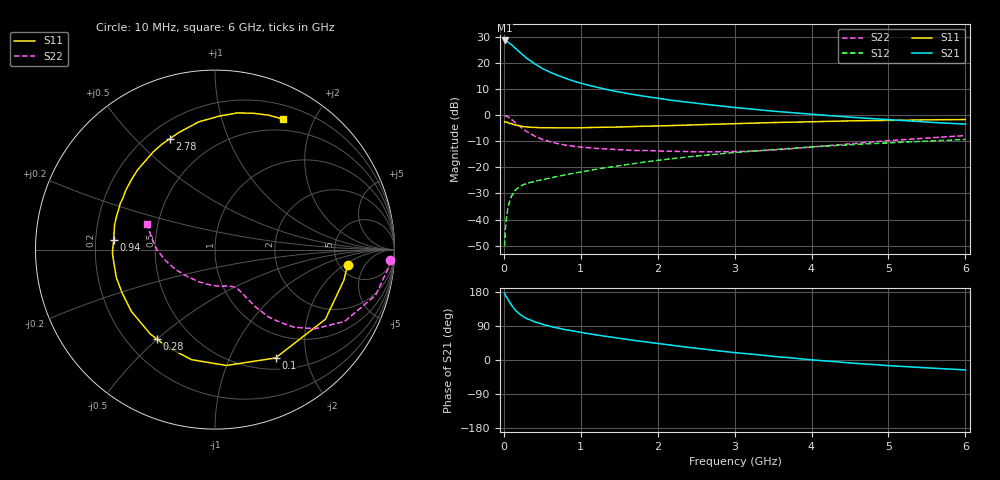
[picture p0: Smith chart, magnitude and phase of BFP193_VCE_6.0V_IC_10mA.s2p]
! Infineon Technologies  Discrete & RF Semiconductors
! BFP193
! VCE = 6.0 V,  IC =  10 mA
! Common Emitter S-Parameters:  Jan 2016
# GHz  S  MA  R  50
!  f  S11  S21  S12  S22
! GHz  MAG  ANG  MAG  ANG  MAG  ANG  MAG  ANG
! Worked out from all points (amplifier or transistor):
!   210 points, 10 MHz to 6 GHz, reference 50 ohm
!   highest |S21| = 28.5 dB at 10 MHz (marker M1)
!   |S21| within 3 dB of that: start of sweep to 150.1 MHz
!   unconditionally stable (mu >= 1): 1.039 GHz to 3.723 GHz
!   at 185 MHz: K = 0.32, MSG = 26.2 dB, |S12| = -27.9 dB
!   at 1.52 GHz: K = 1.08, MAG = 12.2 dB, |S12| = -19.3 dB
!   at 6 GHz: K = 0.89, MSG = 2.9 dB, |S12| = -9.4 dB
!   S11 on the Smith chart (normalised r, x): 10 MHz: 5.87, -2.31; 100 MHz: 0.65, -1.50; 280 MHz: 0.32, -0.50; 940 MHz: 0.28, +0.05; 2.78 GHz: 0.28, +0.63; 6 GHz: 0.36, +1.59
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0.01  0.7437 -6.8  26.63 176.5  0.0031 89.8  0.9749 -3.4
0.02  0.7382 -13.3  26.1 171.4  0.0064 81.2  0.9691 -6.5
0.05  0.7273 -32.2  25.01 160.4  0.0158 74.7  0.9297 -15.9
0.1  0.6915 -60.8  22.17 144.4  0.0282 63.4  0.8254 -29.0
0.15  0.6487 -84.3  18.86 131.1  0.0366 54.2  0.7112 -38.3
0.2  0.6272 -102.0  16.19 122.0  0.0421 49.3  0.6168 -44.5
0.24  0.605 -113.4  14.3 116.2  0.0454 46.3  0.5532 -47.6
0.28  0.5943 -122.9  12.76 111.3  0.0481 44.7  0.5031 -50.2
0.3  0.5928 -127.4  12.06 108.9  0.0493 44.1  0.4804 -51.5
0.4  0.5793 -143.5  9.542 100.8  0.0538 43.0  0.3944 -54.6
0.5  0.5711 -154.7  7.763 94.2  0.0578 42.7  0.3421 -56.2
0.6  0.5713 -164.2  6.588 88.7  0.0625 43.4  0.3075 -57.2
0.7  0.5682 -172.0  5.722 83.9  0.0668 44.5  0.2828 -58.1
0.94  0.5674 174.4  4.306 75.0  0.0786 46.4  0.2486 -60.4
1.02  0.5707 170.0  3.985 72.1  0.0824 47.2  0.2418 -61.3
1.4  0.5868 154.2  2.931 60.3  0.1018 48.3  0.2213 -67.8
2.02  0.6198 133.5  2.062 43.2  0.1367 46.6  0.2042 -82.9
2.78  0.6672 112.2  1.51 24.5  0.1789 41.6  0.1977 -107.9
3.1  0.6877 105.2  1.348 17.7  0.1967 38.7  0.2012 -120.1
4.1  0.7485 86.7  1.007 -1.1  0.2499 29.4  0.2514 -156.0
5.1  0.7921 72.9  0.8 -16.0  0.2984 19.1  0.3306 177.6
6  0.8186 62.6  0.669 -26.2  0.3403 9.5  0.4042 159.1
